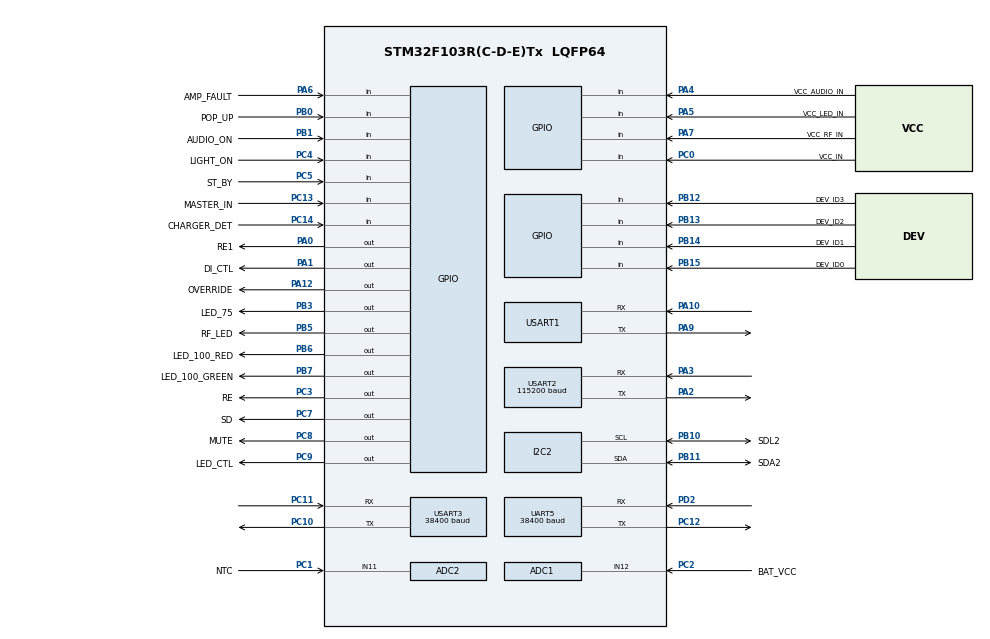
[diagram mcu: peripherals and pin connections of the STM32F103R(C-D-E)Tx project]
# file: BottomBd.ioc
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ADC1.Channel-1\#ChannelRegularConversion=ADC_CHANNEL_12
ADC1.ContinuousConvMode=ENABLE
ADC1.NbrOfConversionFlag=1
ADC1.Rank-1\#ChannelRegularConversion=1
ADC1.SamplingTime-1\#ChannelRegularConversion=ADC_SAMPLETIME_1CYCLE_5
ADC1.master=1
ADC2.Channel-0\#ChannelRegularConversion=ADC_CHANNEL_11
ADC2.ContinuousConvMode=ENABLE
ADC2.NbrOfConversionFlag=1
ADC2.Rank-0\#ChannelRegularConversion=1
ADC2.SamplingTime-0\#ChannelRegularConversion=ADC_SAMPLETIME_1CYCLE_5
IWDG.Prescaler=IWDG_PRESCALER_128
IWDG.Reload=4000
Mcu.Family=STM32F1
Mcu.Name=STM32F103R(C-D-E)Tx
Mcu.Package=LQFP64
NVIC.ADC1_2_IRQn=true\:0\:0\:false\:false\:true\:true\:true\:true
NVIC.PriorityGroup=NVIC_PRIORITYGROUP_4
NVIC.TIM2_IRQn=true\:0\:0\:false\:false\:true\:true\:true\:true
NVIC.UART5_IRQn=true\:0\:0\:false\:false\:true\:true\:true\:true
NVIC.USART1_IRQn=true\:0\:0\:false\:false\:true\:true\:true\:true
NVIC.USART2_IRQn=true\:0\:0\:false\:false\:true\:true\:true\:true
NVIC.USART3_IRQn=true\:0\:0\:false\:false\:true\:true\:true\:true
PA0-WKUP.GPIO_Label=RE1
PA0-WKUP.Signal=GPIO_Output
PA1.GPIO_Label=DI_CTL
PA1.PinState=GPIO_PIN_SET
PA1.Signal=GPIO_Output
PA10.Mode=Asynchronous
PA10.Signal=USART1_RX
PA12.GPIO_Label=OVERRIDE
PA12.Signal=GPIO_Output
PA2.Mode=Asynchronous
PA2.Signal=USART2_TX
PA3.Mode=Asynchronous
PA3.Signal=USART2_RX
PA4.GPIO_Label=VCC_AUDIO_IN
PA4.Signal=GPIO_Input
PA5.GPIO_Label=VCC_LED_IN
PA5.Signal=GPIO_Input
PA6.GPIO_Label=AMP_FAULT
PA6.Signal=GPIO_Input
PA7.GPIO_Label=VCC_RF_IN
PA7.Signal=GPIO_Input
PA9.Mode=Asynchronous
PA9.Signal=USART1_TX
PB0.GPIO_Label=POP_UP
PB0.GPIO_PuPd=GPIO_PULLDOWN
PB0.Signal=GPIO_Input
PB1.GPIO_Label=AUDIO_ON
PB1.GPIO_PuPd=GPIO_PULLDOWN
PB1.Signal=GPIO_Input
PB10.GPIO_Label=SDL2
PB10.Mode=I2C
PB10.Signal=I2C2_SCL
PB11.GPIO_Label=SDA2
PB11.Mode=I2C
PB11.Signal=I2C2_SDA
PB12.GPIO_Label=DEV_ID3
PB12.Signal=GPIO_Input
PB13.GPIO_Label=DEV_ID2
PB13.Signal=GPIO_Input
PB14.GPIO_Label=DEV_ID1
PB14.Signal=GPIO_Input
PB15.GPIO_Label=DEV_ID0
PB15.Signal=GPIO_Input
PB3.GPIO_Label=LED_75
PB3.PinState=GPIO_PIN_SET
PB3.Signal=GPIO_Output
PB5.GPIO_Label=RF_LED
PB5.PinState=GPIO_PIN_SET
PB5.Signal=GPIO_Output
PB6.GPIO_Label=LED_100_RED
PB6.Signal=GPIO_Output
PB7.GPIO_Label=LED_100_GREEN
PB7.Signal=GPIO_Output
PC0.GPIO_Label=VCC_IN
PC0.Signal=GPIO_Input
PC1.GPIO_Label=NTC
PC1.Signal=ADCx_IN11
PC10.Mode=Asynchronous
PC10.Signal=USART3_TX
PC11.Mode=Asynchronous
PC11.Signal=USART3_RX
PC12.Mode=Asynchronous
PC12.Signal=UART5_TX
PC13-TAMPER-RTC.GPIO_Label=MASTER_IN
PC13-TAMPER-RTC.Signal=GPIO_Input
PC14-OSC32_IN.GPIO_Label=CHARGER_DET
PC14-OSC32_IN.GPIO_PuPd=GPIO_NOPULL
PC14-OSC32_IN.Signal=GPIO_Input
PC2.GPIO_Label=BAT_VCC
PC2.Signal=ADCx_IN12
PC3.GPIO_Label=RE
PC3.Signal=GPIO_Output
PC4.GPIO_Label=LIGHT_ON
PC4.GPIO_PuPd=GPIO_PULLDOWN
PC4.Signal=GPIO_Input
PC5.GPIO_Label=ST_BY
PC5.GPIO_PuPd=GPIO_PULLDOWN
PC5.Signal=GPIO_Input
PC7.GPIO_Label=SD
PC7.Signal=GPIO_Output
PC8.GPIO_Label=MUTE
PC8.Signal=GPIO_Output
PC9.GPIO_Label=LED_CTL
PC9.Signal=GPIO_Output
PD0-OSC_IN.Mode=HSE-External-Clock-Source
PD0-OSC_IN.Signal=RCC_OSC_IN
PD1-OSC_OUT.Mode=HSE-External-Clock-Source
PD1-OSC_OUT.Signal=RCC_OSC_OUT
PD2.Mode=Asynchronous
PD2.Signal=UART5_RX
ProjectManager.HeapSize=0x200
ProjectManager.StackSize=0x400
ProjectManager.TargetToolchain=STM32CubeIDE
RCC.APB1Freq_Value=8000000
RCC.APB2Freq_Value=8000000
SH.ADCx_IN11.0=ADC2_IN11,IN11
SH.ADCx_IN12.0=ADC1_IN12,IN12
TIM2.Period=1000-1
TIM2.Prescaler=8-1
UART5.BaudRate=38400
UART5.VirtualMode=Asynchronous
USART1.VirtualMode=VM_ASYNC
USART2.BaudRate=115200
USART2.VirtualMode=VM_ASYNC
USART3.BaudRate=38400
USART3.VirtualMode=VM_ASYNC
VP_IWDG_VS_IWDG.Mode=IWDG_Activate
VP_SYS_VS_ND.Mode=No_Debug
VP_TIM2_VS_ClockSourceINT.Mode=Internal
board=custom

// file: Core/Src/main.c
/* USER CODE BEGIN Header */
/**
  ******************************************************************************
  * @file           : main.c
  * @brief          : Main program body
  ******************************************************************************
  * @attention
  *
  * <h2><center>&copy; Copyright (c) 2020 STMicroelectronics.
  * All rights reserved.</center></h2>
  *
  * This software component is licensed by ST under BSD 3-Clause license,
  * the "License"; You may not use this file except in compliance with the
  * License. You may obtain a copy of the License at:
  *                        opensource.org/licenses/BSD-3-Clause
  *
  ******************************************************************************
  */
/* USER CODE END Header */
#include "main.h"

/* USER CODE BEGIN Includes */

#include "cli.h"			//	CLI ( Command Line Interface )

#if defined(USE_BOOTLOADER)
#include "bootloader.h"

#else
#include "naranja_boron.h"

#endif	//	#if defined(USE_BOOTLOADER)

/* USER CODE END Includes */

#if defined(USE_BOOTLOADER)
#else	//	Application

ADC_HandleTypeDef hadc1;
ADC_HandleTypeDef hadc2;

TIM_HandleTypeDef htim2;

IWDG_HandleTypeDef hiwdg;

#endif	//	Application

I2C_HandleTypeDef hi2c2;

UART_HandleTypeDef huart5;
UART_HandleTypeDef huart1;
UART_HandleTypeDef huart2;
UART_HandleTypeDef huart3;

void SystemClock_Config(void);
static void MX_GPIO_Init(void);
static void MX_ADC1_Init(void);
static void MX_I2C2_Init(void);
static void MX_USART1_UART_Init(void);
static void MX_USART3_UART_Init(void);
static void MX_ADC2_Init(void);
static void MX_TIM2_Init(void);
static void MX_USART2_UART_Init(void);
static void MX_UART5_Init(void);
static void MX_IWDG_Init(void);

/* USER CODE BEGIN 0 */

#if defined(USE_BOOTLOADER)

#ifdef __GNUC__
  /* With GCC/RAISONANCE, small printf (option LD Linker->Libraries->Small printf
     set to 'Yes') calls __io_putchar() */
  #define PUTCHAR_PROTOTYPE int __io_putchar(int ch)
#else
  #define PUTCHAR_PROTOTYPE int fputc(int ch, FILE *f)
#endif /* __GNUC__ */

//===========================================================================
PUTCHAR_PROTOTYPE
//===========================================================================
{
	/* Place your implementation of fputc here */
	/* e.g. write a character to the EVAL_COM1 and Loop until the end of transmission */

	//========================================================================
	//	Console
	HAL_UART_Transmit( &huart1, (uint8_t *)&ch, 1, 0xFFFF );
	if ( ch == '\n' )
	{
		HAL_UART_Transmit( &huart1, (uint8_t *)"\r", 1, 0xFFFF );
	}

	return ch;
}

#endif	//	Bootloader

int g_bEnIWDGStat = 1;		//	WatchDog Stat Enable
//========================================================================
void LoopProcMain( int nTick )
//========================================================================
{
	if ( g_bEnIWDGStat )
	{
#if defined(USE_BOOTLOADER)
#else	//	Application
		//	Watchdog Reload
		__HAL_IWDG_RELOAD_COUNTER(&hiwdg);
#endif
	}
}

/* USER CODE END 0 */

int main(void)
{

  /* MCU Configuration--------------------------------------------------------*/

  /* Reset of all peripherals, Initializes the Flash interface and the Systick. */
  HAL_Init();

  /* Configure the system clock */
  SystemClock_Config();

  /* Initialize all configured peripherals */
  MX_GPIO_Init();
  MX_ADC1_Init();
  MX_I2C2_Init();
  MX_USART1_UART_Init();
  MX_USART3_UART_Init();
  MX_ADC2_Init();
  MX_TIM2_Init();
  MX_USART2_UART_Init();
  MX_UART5_Init();
  MX_IWDG_Init();
  /* USER CODE BEGIN 2 */

#if defined(USE_BOOTLOADER)
#else	//	Application

  HAL_TIM_Base_Start_IT(&htim2);

#endif

  /*
  RetargetInit(&huart1); // for printf

  /*/

#if defined(USE_BOOTLOADER)

#else	//	Application

  //	UART Interrupt ����.
  //	UART Queue �ʱ�ȭ.
  SerialInitQueue();

//  SerialInit( &huart1, NULL, NULL, NULL );	//	Console Interrupt

  //	UART Interrupt ����.
  SerialInit( &huart1, &huart2, &huart3, &huart5 );
//  SerialInit( &huart1, NULL, NULL, NULL );//&huart2, &huart3, &huart5 );
  InitRS485();		//	Init RS485

#endif

  setbuf ( stdout, NULL );		            //	1024 byte buffer clear
//  setvbuf ( stdout, NULL, _IOLBF, NULL );	//	Line Buffer
  setvbuf ( stdout, NULL, _IONBF, NULL );	//	No Buffer

#if defined(USE_BOOTLOADER)
  printf( "Boot\n" );    // xTaskGetTickCount() );
#else
  printf( "[%d]Start\n", HAL_GetTick() );    // xTaskGetTickCount() );
#endif

  //	*/

//=============================================================================
#if defined(USE_BOOTLOADER)
//=============================================================================

  BootLoaderTask();

//=============================================================================
#else	//	Application
//=============================================================================
  setAmpMute(true);

  TestNVRAM( &hi2c2 );

  /* USER CODE END 2 */

  /* Infinite loop */
  /* USER CODE BEGIN WHILE */

  int sCnt = 0;

  int nTick;

  static int s_nTick;
  static int s_nOccCnt;
  static int s_currentCnt;

  static int s_RssNgCleanCnt;

  static int s_I2c_Cnt = 0;
  static int sVccInFlag = 0;
  static int sVccOff_TimeCnt = 0;

  static int s_bMstIn = 0;
  static int s_vcc = 0;

  uint8_t     nTbuf[10];
  uint8_t     nRbuf[10];

    printf( "*********OCC Function(ID %02X)*********\n",getRS485Id() );
    printf( "*********Design by DS-Jang (2022-10-18)\n" );

    HAL_StatusTypeDef result;

	result = HAL_I2C_IsDeviceReady( &hi2c2, (uint16_t)(0xD8), 2, 2 );

	if ( HAL_OK == result )
	{
	  printf( "-0xD8 AMP_SEt_OK \n" );
	}
	else
	{
	  printf( "-0xD8 AMP_SEt_NG(%2x)\n",result);
	}

	nRbuf[0] = 0xFF;

	if(MB85_HAL_ReadBytes(&hi2c2,0xD8,0x00,(uint8_t *)nRbuf,1))
	{
		printf( "-0x00 Read Test(%02X) \n",nRbuf[0]);
	}
	else
	{
		printf( "-0x00 Read Test(0x00-0x00) NG \n" );
	}

	nRbuf[0] = 0xFF;

	if(MB85_HAL_ReadBytes(&hi2c2,0xD8,0x01,(uint8_t *)nRbuf,1))
	{
		printf( "-0x01 Read Test(%02X) \n",nRbuf[0] );
	}
	else
	{
		printf( "-0x01 Read Test(0x00-0x01) NG \n" );
	}

//    nTbuf[0] = 0x9F;
//
//    if(MB85_HAL_WriteBytes(&hi2c2,0xD8,0x0C,(uint8_t *)nTbuf,1))
//    {
//        printf("-0xD8-0x9F Write Test(0x0C-0x%02X) OK \n",nTbuf[0] );
//    }
//    else
//    {
//        printf( "-0xD8-0x9F Write Test(0x08-0xbe) NG \n" );
//    }

	setAmpSd(true); //AMP �ʱ� �����ϴ� �κ�.

	//	�ʱ� ������ Mute On
	ampMuteOn();

  while (1)
  {
    /* USER CODE END WHILE */

    /* USER CODE BEGIN 3 */
	  	nTick = HAL_GetTick();

		//=============================================================================
		LoopProcCLI();		//	CLI ( Command Line Interface )
		LoopProcRS485_3ch();	//	RS485
        LoopProcRS485_5ch();	//	RS485
        LoopProcRFM_2ch();    // Console

        //	Loop Proc Main Watchdog Count Reload
		LoopProcMain( nTick );
		//=============================================================================

		processRfLed();
		processChargeLed();
		processLightLed();
		processAudioAmpProcess();

		processTestDebug();
		//	  Uart3_Process();

        if ( (nTick - s_nOccCnt) >= 100)
        {

#if defined(SIL_RFM)

        	 s_nOccCnt = nTick;

        	if(s_vcc != getVccIn())
        	{
        		s_vcc = getVccIn();
        		printf("Timer_getVccIn():%d\n", getVccIn());
        		printf("Timer_getMasterIn():%d\n", getMasterIn());
        	}

        	if(getVccIn() == 1) //차량 전원이 ON 일때만 동작.
        	{
        		sVccInFlag++;

        		if(sVccInFlag > 15)
        		{

					int bMstIn = getMasterIn();

					if ( bMstIn )
					{
						sVccOff_TimeCnt++;
					}
					else
					{
						sVccOff_TimeCnt = 0;
					}

					if ( (s_bMstIn != bMstIn) && ((sVccOff_TimeCnt > 5) || (sVccOff_TimeCnt == 0)))
					{
						s_bMstIn = bMstIn;

						/*
						if(bMstIn)
						{
							sVccOff_TimeCnt++;
							if(sVccOff_TimeCnt > 5)
							{
								s_bMstIn = bMstIn;
							}
						}
						else
						{
							sVccOff_TimeCnt = 0;
							s_bMstIn = bMstIn;
						}*/

						if ( s_bMstIn )
						{
							printf("getVccIn():%d,%d,%d\n", getVccIn(),sVccOff_TimeCnt,sVccInFlag);

							//RFMOccPaStop();
							RFMOccPaStart();
						}
						else
						{
							printf("getVccIn():%d,%d,%d\n", getVccIn(),sVccOff_TimeCnt,sVccInFlag);

							//RFMOccPaStart();
							RFMOccPaStop();
						}
					}
        		}
        	}
        	else
        	{
        		s_bMstIn = 1;
        		//printf("getVccIn():%d\n", getVccIn());
        		sVccInFlag = 0;

        	}

#else
            s_nOccCnt = nTick;

            // 1?�차 �??10 ?�차�?? ?�??�객 ?�작 ?�도�???�정.
            if(getRS485Id() == 0x01 ||
               getRS485Id() == 0x0A )
            {
                processOverrideOn();
            }

            ONTD_Function();
#endif
        }

		if ( (nTick - s_nTick) >= 1000)
		{
//			printf("[%d]\n", nTick);
			s_nTick = nTick;
			processGetBatVol();			//	ADC

			if(getAmpFault())
			{

				//printf( "getAmpOk \n" );
			}
			else
			{
				//printf( "getAmpFault \n" );
			}

			//=============================================================================
            checkSerial(&huart1);       //  Debug
            checkSerial(&huart2);       //  RFM
            checkSerial(&huart3);       //  RS485 Line üũ.
            checkSerial(&huart5);       //  RS485 Line üũ.
            //=============================================================================
		}

#if 0	//	defined(SIL_RFM)
		//	SIL - SPK Check Disable
#else
        if ( (nTick - s_currentCnt) >= 5000)
        {
            s_currentCnt = nTick;

             //processCurrentVal();

             if(uAudioPlayFlag == false)
             {

                if(AMP_SPK_CHECK())
                {
                    if(uSpk_Stat < 6)
                    {
                        uSpk_Stat++;
                    }
                }
             }

        }
#endif

        if ( (nTick - s_RssNgCleanCnt) >= 15000)
        {

            if(uRssi_NgFlag) // 10초에 ?�번 체크 ?�서 RSSI 고장?? ?�다�??1 감소 ?�다.
            {
               uRssi_NgFlag--;
            }

            if(uSpk_Stat)
            {
                uSpk_Stat--;
            }

             s_RssNgCleanCnt = nTick;

        }

//		HAL_Delay(1);
  }

//=============================================================================
#endif	//	Application
//=============================================================================

  /* USER CODE END 3 */
}

void SystemClock_Config(void)
{
  RCC_OscInitTypeDef RCC_OscInitStruct = {0};
  RCC_ClkInitTypeDef RCC_ClkInitStruct = {0};
  RCC_PeriphCLKInitTypeDef PeriphClkInit = {0};

  /** Initializes the RCC Oscillators according to the specified parameters
  * in the RCC_OscInitTypeDef structure.
  */
  RCC_OscInitStruct.OscillatorType = RCC_OSCILLATORTYPE_HSI|RCC_OSCILLATORTYPE_LSI;
  RCC_OscInitStruct.HSIState = RCC_HSI_ON;
  RCC_OscInitStruct.HSICalibrationValue = RCC_HSICALIBRATION_DEFAULT;
  RCC_OscInitStruct.LSIState = RCC_LSI_ON;
  RCC_OscInitStruct.PLL.PLLState = RCC_PLL_NONE;
  if (HAL_RCC_OscConfig(&RCC_OscInitStruct) != HAL_OK)
  {
    Error_Handler();
  }
  /** Initializes the CPU, AHB and APB buses clocks
  */
  RCC_ClkInitStruct.ClockType = RCC_CLOCKTYPE_HCLK|RCC_CLOCKTYPE_SYSCLK
                              |RCC_CLOCKTYPE_PCLK1|RCC_CLOCKTYPE_PCLK2;
  RCC_ClkInitStruct.SYSCLKSource = RCC_SYSCLKSOURCE_HSI;
  RCC_ClkInitStruct.AHBCLKDivider = RCC_SYSCLK_DIV1;
  RCC_ClkInitStruct.APB1CLKDivider = RCC_HCLK_DIV1;
  RCC_ClkInitStruct.APB2CLKDivider = RCC_HCLK_DIV1;

  if (HAL_RCC_ClockConfig(&RCC_ClkInitStruct, FLASH_LATENCY_0) != HAL_OK)
  {
    Error_Handler();
  }
  PeriphClkInit.PeriphClockSelection = RCC_PERIPHCLK_ADC;
  PeriphClkInit.AdcClockSelection = RCC_ADCPCLK2_DIV2;
  if (HAL_RCCEx_PeriphCLKConfig(&PeriphClkInit) != HAL_OK)
  {
    Error_Handler();
  }
        /**Configure the Systick interrupt time

    */

  HAL_SYSTICK_Config(HAL_RCC_GetHCLKFreq()/1000);

    /**Configure the Systick

    */

  HAL_SYSTICK_CLKSourceConfig(SYSTICK_CLKSOURCE_HCLK);

  /* SysTick_IRQn interrupt configuration */

  HAL_NVIC_SetPriority(SysTick_IRQn, 0, 0);

}

static void MX_ADC1_Init(void)
{

  /* USER CODE BEGIN ADC1_Init 0 */

#if defined(USE_BOOTLOADER)
#else	//	Application

  /* USER CODE END ADC1_Init 0 */

  ADC_ChannelConfTypeDef sConfig = {0};

  /** Common config
  */
  hadc1.Instance = ADC1;
  hadc1.Init.ScanConvMode = ADC_SCAN_DISABLE;
  hadc1.Init.ContinuousConvMode = ENABLE;
  hadc1.Init.DiscontinuousConvMode = DISABLE;
  hadc1.Init.ExternalTrigConv = ADC_SOFTWARE_START;
  hadc1.Init.DataAlign = ADC_DATAALIGN_RIGHT;
  hadc1.Init.NbrOfConversion = 1;
  if (HAL_ADC_Init(&hadc1) != HAL_OK)
  {
    Error_Handler();
  }
  /** Configure Regular Channel
  */
  sConfig.Channel = ADC_CHANNEL_12;
  sConfig.Rank = ADC_REGULAR_RANK_1;
  sConfig.SamplingTime = ADC_SAMPLETIME_1CYCLE_5;
  if (HAL_ADC_ConfigChannel(&hadc1, &sConfig) != HAL_OK)
  {
    Error_Handler();
  }
  /* USER CODE BEGIN ADC1_Init 2 */

#endif	//	Application

  /* USER CODE END ADC1_Init 2 */

}

static void MX_ADC2_Init(void)
{

  /* USER CODE BEGIN ADC2_Init 0 */

#if defined(USE_BOOTLOADER)
#else	//	Application

  /* USER CODE END ADC2_Init 0 */

  ADC_ChannelConfTypeDef sConfig = {0};

  /** Common config
  */
  hadc2.Instance = ADC2;
  hadc2.Init.ScanConvMode = ADC_SCAN_DISABLE;
  hadc2.Init.ContinuousConvMode = ENABLE;
  hadc2.Init.DiscontinuousConvMode = DISABLE;
  hadc2.Init.ExternalTrigConv = ADC_SOFTWARE_START;
  hadc2.Init.DataAlign = ADC_DATAALIGN_RIGHT;
  hadc2.Init.NbrOfConversion = 1;
  if (HAL_ADC_Init(&hadc2) != HAL_OK)
  {
    Error_Handler();
  }
  /** Configure Regular Channel
  */
  sConfig.Channel = ADC_CHANNEL_11;
  sConfig.Rank = ADC_REGULAR_RANK_1;
  sConfig.SamplingTime = ADC_SAMPLETIME_1CYCLE_5;
  if (HAL_ADC_ConfigChannel(&hadc2, &sConfig) != HAL_OK)
  {
    Error_Handler();
  }
  /* USER CODE BEGIN ADC2_Init 2 */

#endif	//	Application

  /* USER CODE END ADC2_Init 2 */

}

static void MX_I2C2_Init(void)
{

  /* USER CODE BEGIN I2C2_Init 0 */
    GPIO_InitTypeDef   GPIO_InitStructure;
 __HAL_RCC_GPIOB_CLK_ENABLE();
  /* USER CODE END I2C2_Init 0 */

  /* USER CODE BEGIN I2C2_Init 1 */
 GPIO_InitStructure.Pin = SDL2_Pin|SDA2_Pin;
 GPIO_InitStructure.Mode = GPIO_MODE_AF_OD;
 GPIO_InitStructure.Speed = GPIO_SPEED_FREQ_HIGH;

 __GPIOB_CLK_ENABLE();
 HAL_GPIO_Init(SDL2_GPIO_Port, &GPIO_InitStructure);

 HAL_GPIO_WritePin(SDL2_GPIO_Port, SDL2_Pin, GPIO_PIN_SET);
HAL_GPIO_WritePin(SDL2_GPIO_Port, SDA2_Pin, GPIO_PIN_SET);

   // HAL_GPIO_Init(GPIOB, &GPIO_InitStructure);
  /* USER CODE END I2C2_Init 1 */
  hi2c2.Instance = I2C2;
  hi2c2.Init.ClockSpeed = 100000;
  hi2c2.Init.DutyCycle = I2C_DUTYCYCLE_2;
  hi2c2.Init.OwnAddress1 = 0;
  hi2c2.Init.AddressingMode = I2C_ADDRESSINGMODE_7BIT;
  hi2c2.Init.DualAddressMode = I2C_DUALADDRESS_DISABLE;
  hi2c2.Init.OwnAddress2 = 0;
  hi2c2.Init.GeneralCallMode = I2C_GENERALCALL_DISABLE;
  hi2c2.Init.NoStretchMode = I2C_NOSTRETCH_DISABLE;
  if (HAL_I2C_Init(&hi2c2) != HAL_OK)
  {
    Error_Handler();
  }

}

static void MX_IWDG_Init(void)
{

  /* USER CODE BEGIN IWDG_Init 0 */
#if defined(USE_BOOTLOADER)
#else
  /* USER CODE END IWDG_Init 0 */

  hiwdg.Instance = IWDG;
  hiwdg.Init.Prescaler = IWDG_PRESCALER_128;
  hiwdg.Init.Reload = 4000;
  if (HAL_IWDG_Init(&hiwdg) != HAL_OK)
  {
    Error_Handler();
  }
  /* USER CODE BEGIN IWDG_Init 2 */
#endif
  /* USER CODE END IWDG_Init 2 */

}
static void MX_TIM2_Init(void)
{

  /* USER CODE BEGIN TIM2_Init 0 */

#if defined(USE_BOOTLOADER)
#else	//	Application

  /* USER CODE END TIM2_Init 0 */

  TIM_ClockConfigTypeDef sClockSourceConfig = {0};
  TIM_MasterConfigTypeDef sMasterConfig = {0};

  htim2.Instance = TIM2;
  htim2.Init.Prescaler = 8-1;
  htim2.Init.CounterMode = TIM_COUNTERMODE_UP;
  htim2.Init.Period = 1000-1;
  htim2.Init.ClockDivision = TIM_CLOCKDIVISION_DIV1;
  htim2.Init.AutoReloadPreload = TIM_AUTORELOAD_PRELOAD_DISABLE;
  if (HAL_TIM_Base_Init(&htim2) != HAL_OK)
  {
    Error_Handler();
  }
  sClockSourceConfig.ClockSource = TIM_CLOCKSOURCE_INTERNAL;
  if (HAL_TIM_ConfigClockSource(&htim2, &sClockSourceConfig) != HAL_OK)
  {
    Error_Handler();
  }
  sMasterConfig.MasterOutputTrigger = TIM_TRGO_RESET;
  sMasterConfig.MasterSlaveMode = TIM_MASTERSLAVEMODE_DISABLE;
  if (HAL_TIMEx_MasterConfigSynchronization(&htim2, &sMasterConfig) != HAL_OK)
  {
    Error_Handler();
  }
  /* USER CODE BEGIN TIM2_Init 2 */

#endif	//	Application

  /* USER CODE END TIM2_Init 2 */

}

static void MX_UART5_Init(void)
{

  huart5.Instance = UART5;
  huart5.Init.BaudRate = 38400;
  huart5.Init.WordLength = UART_WORDLENGTH_8B;
  huart5.Init.StopBits = UART_STOPBITS_1;
  huart5.Init.Parity = UART_PARITY_NONE;
  huart5.Init.Mode = UART_MODE_TX_RX;
  huart5.Init.HwFlowCtl = UART_HWCONTROL_NONE;
  huart5.Init.OverSampling = UART_OVERSAMPLING_16;
  if (HAL_UART_Init(&huart5) != HAL_OK)
  {
    Error_Handler();
  }

}

static void MX_USART1_UART_Init(void)
{

  huart1.Instance = USART1;
  huart1.Init.BaudRate = 115200;
  huart1.Init.WordLength = UART_WORDLENGTH_8B;
  huart1.Init.StopBits = UART_STOPBITS_1;
  huart1.Init.Parity = UART_PARITY_NONE;
  huart1.Init.Mode = UART_MODE_TX_RX;
  huart1.Init.HwFlowCtl = UART_HWCONTROL_NONE;
  huart1.Init.OverSampling = UART_OVERSAMPLING_16;
  if (HAL_UART_Init(&huart1) != HAL_OK)
  {
    Error_Handler();
  }

}

static void MX_USART2_UART_Init(void)
{

  huart2.Instance = USART2;
  huart2.Init.BaudRate = 115200;
  huart2.Init.WordLength = UART_WORDLENGTH_8B;
  huart2.Init.StopBits = UART_STOPBITS_1;
  huart2.Init.Parity = UART_PARITY_NONE;
  huart2.Init.Mode = UART_MODE_TX_RX;
  huart2.Init.HwFlowCtl = UART_HWCONTROL_NONE;
  huart2.Init.OverSampling = UART_OVERSAMPLING_16;
  if (HAL_UART_Init(&huart2) != HAL_OK)
  {
    Error_Handler();
  }

}

static void MX_USART3_UART_Init(void)
{

  huart3.Instance = USART3;
  huart3.Init.BaudRate = 38400;
  huart3.Init.WordLength = UART_WORDLENGTH_8B;
  huart3.Init.StopBits = UART_STOPBITS_1;
  huart3.Init.Parity = UART_PARITY_NONE;
  huart3.Init.Mode = UART_MODE_TX_RX;
  huart3.Init.HwFlowCtl = UART_HWCONTROL_NONE;
  huart3.Init.OverSampling = UART_OVERSAMPLING_16;
  if (HAL_UART_Init(&huart3) != HAL_OK)
  {
    Error_Handler();
  }

}

static void MX_GPIO_Init(void)
{
  GPIO_InitTypeDef GPIO_InitStruct = {0};

  /* GPIO Ports Clock Enable */
  __HAL_RCC_GPIOC_CLK_ENABLE();
  __HAL_RCC_GPIOD_CLK_ENABLE();
  __HAL_RCC_GPIOA_CLK_ENABLE();
  __HAL_RCC_GPIOB_CLK_ENABLE();

  /*Configure GPIO pin Output Level */
  HAL_GPIO_WritePin(GPIOC, RE_Pin|SD_Pin|MUTE_Pin|LED_CTL_Pin, GPIO_PIN_RESET);

  /*Configure GPIO pin Output Level */
  HAL_GPIO_WritePin(GPIOA, RE1_Pin|OVERRIDE_Pin, GPIO_PIN_RESET);

  /*Configure GPIO pin Output Level */
  HAL_GPIO_WritePin(DI_CTL_GPIO_Port, DI_CTL_Pin, GPIO_PIN_SET);

  /*Configure GPIO pin Output Level */
  HAL_GPIO_WritePin(GPIOB, LED_75_Pin|RF_LED_Pin, GPIO_PIN_SET);

  /*Configure GPIO pin Output Level */
  HAL_GPIO_WritePin(GPIOB, LED_100_RED_Pin|LED_100_GREEN_Pin, GPIO_PIN_RESET);

  /*Configure GPIO pins : MASTER_IN_Pin CHARGER_DET_Pin VCC_IN_Pin */
  GPIO_InitStruct.Pin = MASTER_IN_Pin|CHARGER_DET_Pin|VCC_IN_Pin;
  GPIO_InitStruct.Mode = GPIO_MODE_INPUT;
  GPIO_InitStruct.Pull = GPIO_NOPULL;
  HAL_GPIO_Init(GPIOC, &GPIO_InitStruct);

  /*Configure GPIO pins : RE_Pin SD_Pin MUTE_Pin LED_CTL_Pin */
  GPIO_InitStruct.Pin = RE_Pin|SD_Pin|MUTE_Pin|LED_CTL_Pin;
  GPIO_InitStruct.Mode = GPIO_MODE_OUTPUT_PP;
  GPIO_InitStruct.Pull = GPIO_NOPULL;
  GPIO_InitStruct.Speed = GPIO_SPEED_FREQ_LOW;
  HAL_GPIO_Init(GPIOC, &GPIO_InitStruct);

  /*Configure GPIO pins : RE1_Pin DI_CTL_Pin OVERRIDE_Pin */
  GPIO_InitStruct.Pin = RE1_Pin|DI_CTL_Pin|OVERRIDE_Pin;
  GPIO_InitStruct.Mode = GPIO_MODE_OUTPUT_PP;
  GPIO_InitStruct.Pull = GPIO_NOPULL;
  GPIO_InitStruct.Speed = GPIO_SPEED_FREQ_LOW;
  HAL_GPIO_Init(GPIOA, &GPIO_InitStruct);

  /*Configure GPIO pins : VCC_AUDIO_IN_Pin VCC_LED_IN_Pin AMP_FAULT_Pin VCC_RF_IN_Pin */
  GPIO_InitStruct.Pin = VCC_AUDIO_IN_Pin|VCC_LED_IN_Pin|AMP_FAULT_Pin|VCC_RF_IN_Pin;
  GPIO_InitStruct.Mode = GPIO_MODE_INPUT;
  GPIO_InitStruct.Pull = GPIO_NOPULL;
  HAL_GPIO_Init(GPIOA, &GPIO_InitStruct);

  /*Configure GPIO pins : LIGHT_ON_Pin ST_BY_Pin */
  GPIO_InitStruct.Pin = LIGHT_ON_Pin|ST_BY_Pin;
  GPIO_InitStruct.Mode = GPIO_MODE_INPUT;
  GPIO_InitStruct.Pull = GPIO_PULLDOWN;
  HAL_GPIO_Init(GPIOC, &GPIO_InitStruct);

  /*Configure GPIO pins : POP_UP_Pin AUDIO_ON_Pin */
  GPIO_InitStruct.Pin = POP_UP_Pin|AUDIO_ON_Pin;
  GPIO_InitStruct.Mode = GPIO_MODE_INPUT;
  GPIO_InitStruct.Pull = GPIO_PULLDOWN;
  HAL_GPIO_Init(GPIOB, &GPIO_InitStruct);

  /*Configure GPIO pins : DEV_ID3_Pin DEV_ID2_Pin DEV_ID1_Pin DEV_ID0_Pin */
  GPIO_InitStruct.Pin = DEV_ID3_Pin|DEV_ID2_Pin|DEV_ID1_Pin|DEV_ID0_Pin;
  GPIO_InitStruct.Mode = GPIO_MODE_INPUT;
  GPIO_InitStruct.Pull = GPIO_NOPULL;
  HAL_GPIO_Init(GPIOB, &GPIO_InitStruct);

  /*Configure GPIO pins : LED_75_Pin RF_LED_Pin LED_100_RED_Pin LED_100_GREEN_Pin */
  GPIO_InitStruct.Pin = LED_75_Pin|RF_LED_Pin|LED_100_RED_Pin|LED_100_GREEN_Pin;
  GPIO_InitStruct.Mode = GPIO_MODE_OUTPUT_PP;
  GPIO_InitStruct.Pull = GPIO_NOPULL;
  GPIO_InitStruct.Speed = GPIO_SPEED_FREQ_LOW;
  HAL_GPIO_Init(GPIOB, &GPIO_InitStruct);

}

void Error_Handler(void)
{
}

/************************ (C) COPYRIGHT STMicroelectronics *****END OF FILE****/
